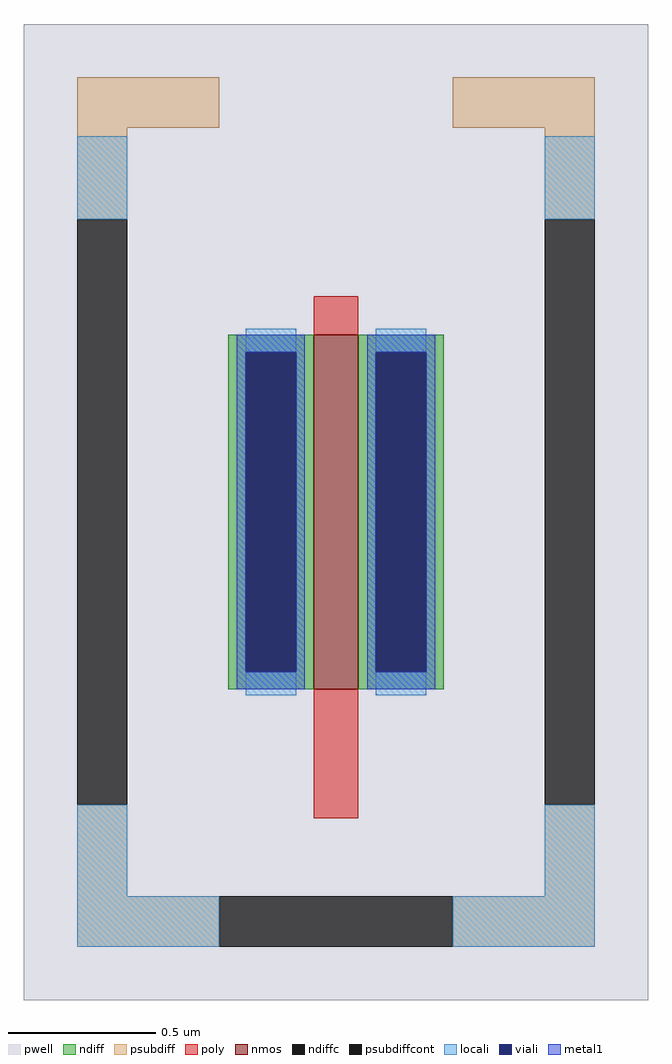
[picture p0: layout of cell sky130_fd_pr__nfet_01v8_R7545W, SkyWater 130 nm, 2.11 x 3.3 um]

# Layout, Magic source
magic
tech sky130A
magscale 1 2
<< pwell >>
rect -211 -330 211 330
<< nmos >>
rect -15 -120 15 120
<< ndiff >>
rect -73 108 -15 120
rect -73 -108 -61 108
rect -27 -108 -15 108
rect -73 -120 -15 -108
rect 15 108 73 120
rect 15 -108 27 108
rect 61 -108 73 108
rect 15 -120 73 -108
<< ndiffc >>
rect -61 -108 -27 108
rect 27 -108 61 108
<< psubdiff >>
rect -175 260 -79 294
rect 79 260 175 294
rect -175 198 -141 260
rect 141 198 175 260
rect -175 -260 -141 -198
rect 141 -260 175 -198
rect -175 -294 -79 -260
rect 79 -294 175 -260
<< psubdiffcont >>
rect -175 -198 -141 198
rect 141 -198 175 198
rect -79 -294 79 -260
<< poly >>
rect -15 120 15 146
rect -15 -207 15 -120
<< locali >>
rect -175 198 -141 254
rect 141 198 175 254
rect -61 108 -27 124
rect -61 -124 -27 -108
rect 27 108 61 124
rect 27 -124 61 -108
rect -175 -260 -141 -198
rect 141 -260 175 -198
rect -175 -294 -79 -260
rect 79 -294 175 -260
<< viali >>
rect -61 -108 -27 108
rect 27 -108 61 108
<< metal1 >>
rect -67 108 -21 120
rect -67 -108 -61 108
rect -27 -108 -21 108
rect -67 -120 -21 -108
rect 21 108 67 120
rect 21 -108 27 108
rect 61 -108 67 108
rect 21 -120 67 -108
<< properties >>
string gencell sky130_fd_pr__nfet_01v8
string FIXED_BBOX -158 -277 158 277
string parameters w 1.2 l 0.150 m 1 nf 1 diffcov 100 polycov 100 guard 1 glc 1 grc 1 gtc 1 gbc 1 tbcov 100 rlcov 100 topc 1 botc 1 poverlap 0 doverlap 1 lmin 0.15 wmin 0.42 compatible {sky130_fd_pr__nfet_01v8 sky130_fd_pr__nfet_01v8_lvt  sky130_fd_bs_flash__special_sonosfet_star  sky130_fd_pr__nfet_g5v0d10v5 sky130_fd_pr__nfet_05v0_nvt} full_metal 1 viasrc 100 viadrn 100 viagate 100 viagb 0 viagr 0 viagl 0 viagt 0
string library sky130
<< end >>
